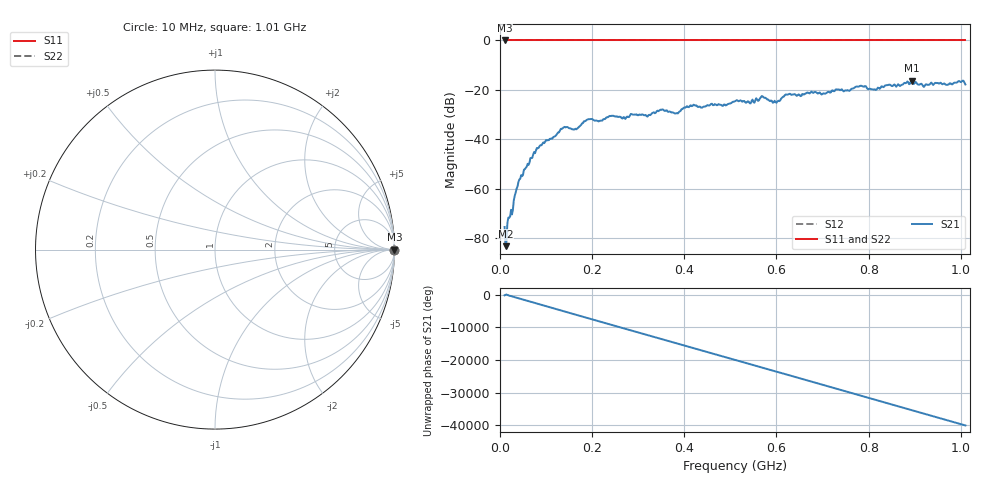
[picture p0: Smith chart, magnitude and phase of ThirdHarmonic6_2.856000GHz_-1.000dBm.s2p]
! 8/17/2025 7:45:35 AM
! C:\ANRITSUVNA\TEMP\TEMP.S2P
! CHANNEL.1
! TR.MEASUREMENT
! RAW.DATA
! RF.CORRECTION.OFF
! AVERAGING.OFF
! IF.BANDWIDTH: 5KHZ
! SWEEPTYPE:  FREQ.SWEEP(Linear)
! Reference Plane Port Info
! PORT:  PORT1  PORT2
! DISTANCE:  0  m  0  m
! TIME:  0  s  0  s
! PHASE.OFFSET:  0  deg.  0  deg.
! LOSS:  0  dB  0  dB
! REF.LOSS:  0  dB  0  dB
! REF.FREQ:  0  Hz  0  Hz
! Power Info
! POWER:  -20  dBm  -20  dBm
! EFF.POWER:  -20  dBm  -20  dBm
! SOURCE.ATTEN:  0  dB  0  dB
! TEST.ATTEN:  0  dB  0  dB
# GHZ S RI R 50.0
! FREQ.GHZ  S11RE  S11IM  S21RE  S21IM  S12RE  S12IM  S22RE  S22IM
!; PortSelection: Port_12
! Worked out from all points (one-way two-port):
!   501 points, 10 MHz to 1.01 GHz, reference 50 ohm
!   highest |S21| = -16.21 dB at 894 MHz (marker M1); lowest = -83.1 dB at 12 MHz (marker M2)
!   lowest |S11| = 0.0 dB at 10 MHz (marker M3)
!   |S11| at or under -10 dB: nowhere
!   |S22| runs from 0.0 to 0.0 dB; largest |S21 - S12| = 1.1
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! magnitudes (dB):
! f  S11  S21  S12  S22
! 10 MHz  0.0  -75.4  0.0  0.0
! 12 MHz  0.0  -83.1  0.0  0.0
! 42 MHz  0.0  -56.2  0.0  0.0
! 76 MHz  0.0  -45.5  0.0  0.0
! 136 MHz  0.0  -35.5  0.0  0.0
! 164 MHz  0.0  -35.7  0.0  0.0
! 178 MHz  0.0  -33.5  0.0  0.0
! 192 MHz  0.0  -31.8  0.0  0.0
! 322 MHz  0.0  -30.2  0.0  0.0
! 344 MHz  0.0  -28.6  0.0  0.0
! 382 MHz  0.0  -29.4  0.0  0.0
! 416 MHz  0.0  -26.5  0.0  0.0
! 510 MHz  0.0  -24.5  0.0  0.0
! 540 MHz  0.0  -24.8  0.0  0.0
! 570 MHz  0.0  -22.6  0.0  0.0
! 596 MHz  0.0  -24.4  0.0  0.0
! 624 MHz  0.0  -21.9  0.0  0.0
! 678 MHz  0.0  -21.0  0.0  0.0
! 814 MHz  0.0  -19.8  0.0  0.0
! 844 MHz  0.0  -17.9  0.0  0.0
! 894 MHz  0.0  -16.2  0.0  0.0
! 1.01 GHz  0.0  -17.8  0.0  0.0
